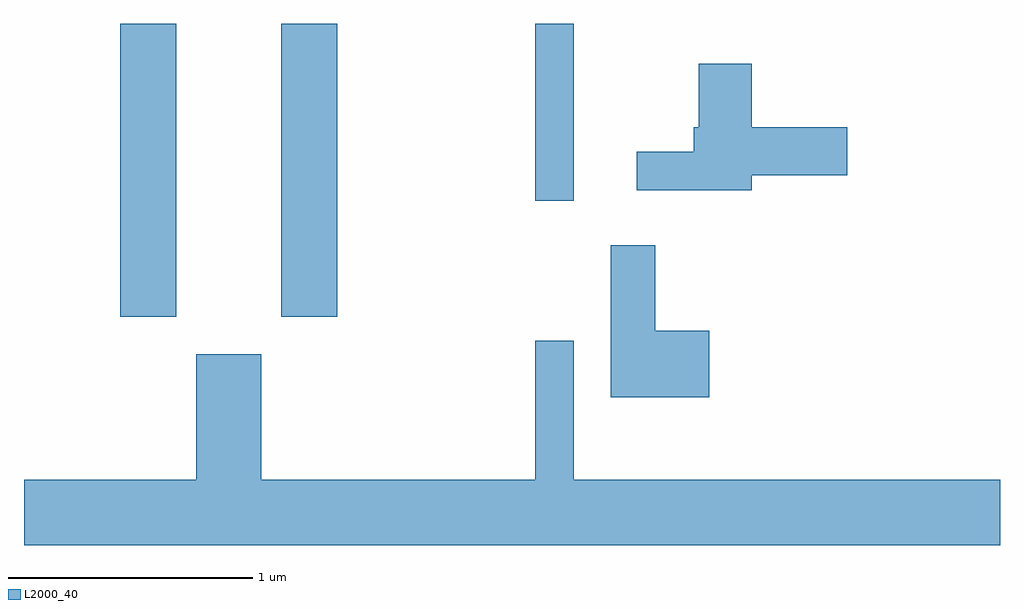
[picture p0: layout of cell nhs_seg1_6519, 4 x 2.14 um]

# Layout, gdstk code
import gdstk
lib = gdstk.Library(unit=1e-6, precision=1e-09)
def R(c, l, rs):  # rectangles x0, y0, x1, y1
    for r in rs: c.add(gdstk.rectangle(r[:2], r[2:], *l))
def P(c, l, *ps):  # polygons
    for p in ps: c.add(gdstk.Polygon(p, *l))
L2000_40 = (2000, 40)

nhs_seg1_6519 = lib.new_cell('nhs_seg1_6519')
R(nhs_seg1_6519, L2000_40, [(382.006,900.511,382.234,901.712), (382.666,900.511,382.894,901.712), (383.706,900.988,383.864,901.712)])
P(nhs_seg1_6519, L2000_40, [(384.594,901.091),(384.984,901.091),(384.984,901.289),(384.594,901.289),(384.594,901.549),(384.376,901.549),(384.376,901.289),(384.356,901.289),(384.356,901.189),(384.123,901.189),(384.123,901.031),(384.594,901.031)],
  [(384.419,900.454),(384.199,900.454),(384.199,900.804),(384.016,900.804),(384.016,900.181),(384.419,900.181)],
  [(385.611,899.844),(383.864,899.844),(383.864,900.413),(383.706,900.413),(383.706,899.844),(382.584,899.844),(382.584,900.359),(382.316,900.359),(382.316,899.844),(381.611,899.844),(381.611,899.576),(385.611,899.576)])

lib.write_gds('nhs_seg1_6519.gds')
